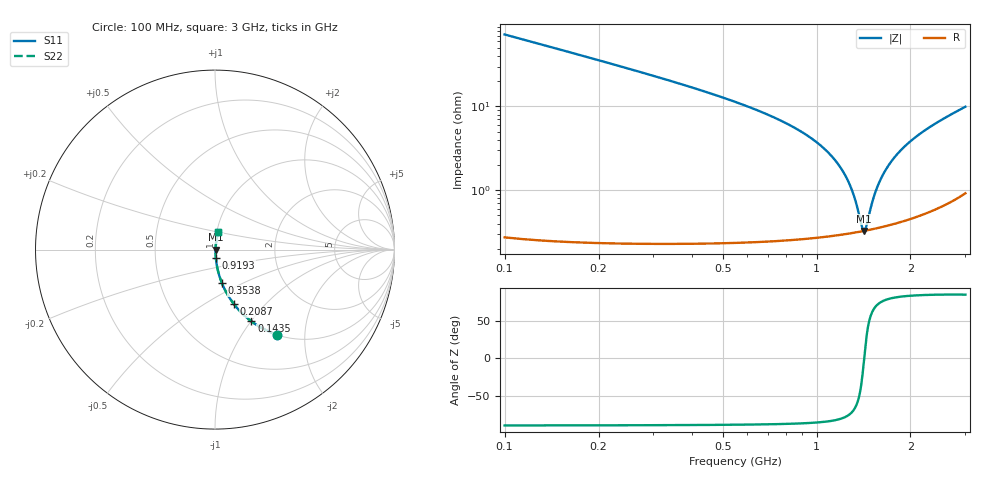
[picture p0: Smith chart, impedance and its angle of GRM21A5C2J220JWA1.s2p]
!Murata Part Number: GRM21A5C2J220JWA1
!These Parameters are Measured in Series Mode Connection
!Data Generated on Mar 30, 2021
!  o--ll--o
!Port1  Port2
!  o------o
!Operation Temp=25[degC], DC Bias Voltage=0[V]
!Freq. Start=100[MHz] Stop=3[GHz] 401[Steps]
# Hz S RI R 50
!Freq.(Hz) S11(Real) S11(Imag) S21(Real) S21(Imag) S12(Real) S12(Imag) S22(Real) S22(Imag)
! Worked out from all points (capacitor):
!   401 points, 100 MHz to 3 GHz, reference 50 ohm
!   read as one part in series: C = 21.8 pF near 114.5 MHz
!   lowest |Z| = 327 mohm at 1.419 GHz (marker M1)
!   series resonance near 1.421 GHz, so ESL is about 570 pH
!   S11 on the Smith chart (normalised r, x): 100 MHz: 1.01, -1.45; 143.5 MHz: 1.00, -1.01; 208.8 MHz: 1.00, -0.68; 353.8 MHz: 1.00, -0.39; 919.2 MHz: 1.01, -0.09; 3 GHz: 1.02, +0.20
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1e8  0.3451 -0.4735  0.6549 0.4735  0.6549 0.4735  0.3451 -0.4735
1.435e8  0.2029 -0.3997  0.7971 0.3997  0.7971 0.3997  0.2029 -0.3997
2.0875e8  0.1062 -0.3047  0.8938 0.3047  0.8938 0.3047  0.1062 -0.3047
3.5375e8  0.0382 -0.1858  0.9618 0.1858  0.9618 0.1858  0.0382 -0.1858
5.8575e8  0.013 -0.1022  0.987 0.1022  0.987 0.1022  0.013 -0.1022
9.1925e8  0.00477 -0.0464  0.9952 0.0464  0.9952 0.0464  0.00477 -0.0464
1.0715e9  0.00366 -0.0297  0.9963 0.0297  0.9963 0.0297  0.00366 -0.0297
1.18025e9  0.00328 -0.0195  0.9967 0.0195  0.9967 0.0195  0.00328 -0.0195
1.26e9  0.00317 -0.0126  0.9968 0.0126  0.9968 0.0126  0.00317 -0.0126
1.32525e9  0.00316 -0.00734  0.9968 0.00734  0.9968 0.00734  0.00316 -0.00734
1.39775e9  0.00322 -0.00176  0.9968 0.00176  0.9968 0.00176  0.00322 -0.00176
1.4195e9  0.00325 -0.000132  0.9967 0.000132  0.9967 0.000132  0.00325 -0.000132
1.44125e9  0.00329 0.00147  0.9967 -0.00147  0.9967 -0.00147  0.00329 0.00147
1.5065e9  0.00344 0.00616  0.9966 -0.00616  0.9966 -0.00616  0.00344 0.00616
1.55e9  0.00357 0.00919  0.9964 -0.00919  0.9964 -0.00919  0.00357 0.00919
1.62975e9  0.00385 0.0146  0.9962 -0.0146  0.9962 -0.0146  0.00385 0.0146
1.7385e9  0.00434 0.0217  0.9957 -0.0217  0.9957 -0.0217  0.00434 0.0217
1.869e9  0.00506 0.0299  0.9949 -0.0299  0.9949 -0.0299  0.00506 0.0299
2.03575e9  0.00621 0.0399  0.9938 -0.0399  0.9938 -0.0399  0.00621 0.0399
2.25325e9  0.00809 0.0526  0.9919 -0.0526  0.9919 -0.0526  0.00809 0.0526
2.5215e9  0.011 0.0681  0.989 -0.0681  0.989 -0.0681  0.011 0.0681
3e9  0.0186 0.0963  0.9814 -0.0963  0.9814 -0.0963  0.0186 0.0963
